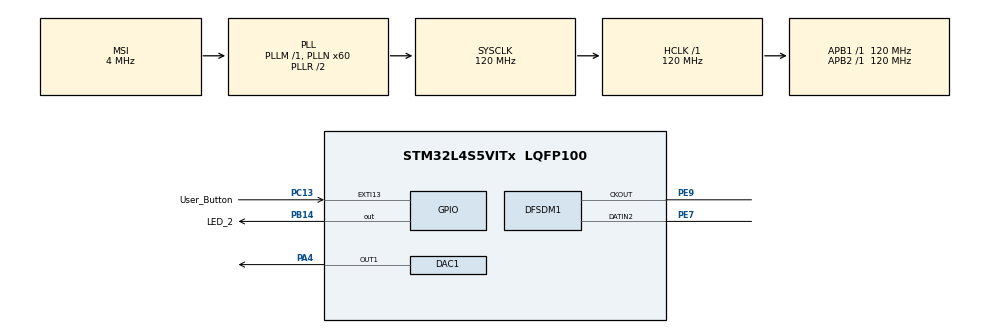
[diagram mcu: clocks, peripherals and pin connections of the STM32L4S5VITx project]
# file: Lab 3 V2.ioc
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DAC1.DAC_Trigger-DAC_OUT1=DAC_TRIGGER_SOFTWARE
DFSDM1.Divider=51
DFSDM1.DmaMode_reg_FIL0=ENABLE
DFSDM1.FastMode_reg_FIL0=ENABLE
DFSDM1.Filter_regChannel_FIL0=DFSDM_CHANNEL_2
DFSDM1.Fosr_FIL0=250
DFSDM1.SincOrder_FIL0=DFSDM_FILTER_SINC3_ORDER
Dma.DAC1_CH1.0.Direction=DMA_MEMORY_TO_PERIPH
Dma.DAC1_CH1.0.EventEnable=DISABLE
Dma.DAC1_CH1.0.Instance=DMA1_Channel1
Dma.DAC1_CH1.0.MemDataAlignment=DMA_MDATAALIGN_WORD
Dma.DAC1_CH1.0.MemInc=DMA_MINC_ENABLE
Dma.DAC1_CH1.0.Mode=DMA_NORMAL
Dma.DAC1_CH1.0.PeriphDataAlignment=DMA_PDATAALIGN_WORD
Dma.DAC1_CH1.0.PeriphInc=DMA_PINC_DISABLE
Dma.DAC1_CH1.0.Polarity=HAL_DMAMUX_REQUEST_GEN_RISING
Dma.DAC1_CH1.0.Priority=DMA_PRIORITY_LOW
Dma.DAC1_CH1.0.RequestNumber=1
Dma.DAC1_CH1.0.SignalID=NONE
Dma.DAC1_CH1.0.SyncEnable=DISABLE
Dma.DAC1_CH1.0.SyncPolarity=HAL_DMAMUX_SYNC_NO_EVENT
Dma.DAC1_CH1.0.SyncRequestNumber=1
Dma.DAC1_CH1.0.SyncSignalID=NONE
Dma.DFSDM1_FLT0.1.Direction=DMA_PERIPH_TO_MEMORY
Dma.DFSDM1_FLT0.1.EventEnable=DISABLE
Dma.DFSDM1_FLT0.1.Instance=DMA1_Channel2
Dma.DFSDM1_FLT0.1.MemDataAlignment=DMA_MDATAALIGN_WORD
Dma.DFSDM1_FLT0.1.MemInc=DMA_MINC_ENABLE
Dma.DFSDM1_FLT0.1.Mode=DMA_NORMAL
Dma.DFSDM1_FLT0.1.PeriphDataAlignment=DMA_PDATAALIGN_WORD
Dma.DFSDM1_FLT0.1.PeriphInc=DMA_PINC_DISABLE
Dma.DFSDM1_FLT0.1.Polarity=HAL_DMAMUX_REQUEST_GEN_RISING
Dma.DFSDM1_FLT0.1.Priority=DMA_PRIORITY_LOW
Dma.DFSDM1_FLT0.1.RequestNumber=1
Dma.DFSDM1_FLT0.1.SignalID=NONE
Dma.DFSDM1_FLT0.1.SyncEnable=DISABLE
Dma.DFSDM1_FLT0.1.SyncPolarity=HAL_DMAMUX_SYNC_NO_EVENT
Dma.DFSDM1_FLT0.1.SyncRequestNumber=1
Dma.DFSDM1_FLT0.1.SyncSignalID=NONE
Dma.Request0=DAC1_CH1
Dma.Request1=DFSDM1_FLT0
Mcu.Family=STM32L4
Mcu.Name=STM32L4S5VITx
Mcu.Package=LQFP100
NVIC.DMA1_Channel1_IRQn=true\:0\:0\:false\:false\:true\:false\:true\:true
NVIC.DMA1_Channel2_IRQn=true\:0\:0\:false\:false\:true\:false\:true\:true
NVIC.EXTI15_10_IRQn=true\:0\:0\:false\:false\:true\:true\:true\:true
NVIC.PriorityGroup=NVIC_PRIORITYGROUP_4
NVIC.TIM2_IRQn=true\:0\:0\:false\:false\:true\:true\:true\:true
PA4.Signal=COMP_DAC11_group
PB14.GPIO_Label=LED_2
PB14.Signal=GPIO_Output
PC13.GPIO_Label=User_Button
PC13.Signal=GPXTI13
PE7.Signal=S_DATAIN2DFSDM1
PE9.Signal=S_CKOUTDFSDM1
ProjectManager.HeapSize=0x200
ProjectManager.StackSize=0x400
ProjectManager.TargetToolchain=STM32CubeIDE
RCC.AHBFreq_Value=120000000
RCC.APB1Freq_Value=120000000
RCC.APB1TimFreq_Value=120000000
RCC.APB2Freq_Value=120000000
RCC.APB2TimFreq_Value=120000000
RCC.CortexFreq_Value=120000000
RCC.HCLKFreq_Value=120000000
RCC.HSE_VALUE=8000000
RCC.HSI48_VALUE=48000000
RCC.HSI_VALUE=16000000
RCC.LSE_VALUE=32768
RCC.MSI_VALUE=4000000
RCC.PLLN=60
RCC.SYSCLKFreq_VALUE=120000000
RCC.SYSCLKSource=RCC_SYSCLKSOURCE_PLLCLK
RCC.VCOOutputFreq_Value=240000000
SH.COMP_DAC11_group.0=DAC1_OUT1,DAC_OUT1
SH.S_CKOUTDFSDM1.0=DFSDM1_CKOUT,CKOUT
SH.S_CKOUTDFSDM1.1=DFSDM1_CKOUT,PDM_SPI_input_from_ch2_and_internal_clock
SH.S_DATAIN2DFSDM1.0=DFSDM1_DATIN2,PDM_SPI_input_from_ch2_and_internal_clock
TIM2.Period=12751
TIM2.TIM_MasterOutputTrigger=TIM_TRGO_RESET
VP_TIM2_VS_ClockSourceINT.Mode=Internal
board=custom

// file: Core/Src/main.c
/* USER CODE BEGIN Header */
/**
  ******************************************************************************
  * @file           : main.c
  * @brief          : Main program body
  ******************************************************************************
  * @attention
  *
  * Copyright (c) 2023 STMicroelectronics.
  * All rights reserved.
  *
  * This software is licensed under terms that can be found in the LICENSE file
  * in the root directory of this software component.
  * If no LICENSE file comes with this software, it is provided AS-IS.
  *
  ******************************************************************************
  */
/* USER CODE END Header */
#include "main.h"

/* USER CODE BEGIN Includes */

#define ARM_MATH_CM4
#include "arm_math.h"

/* USER CODE END Includes */

/* USER CODE BEGIN PD */

#define LENGTH 64000

/* USER CODE END PD */

DAC_HandleTypeDef hdac1;
DMA_HandleTypeDef hdma_dac1_ch1;

DFSDM_Filter_HandleTypeDef hdfsdm1_filter0;
DFSDM_Channel_HandleTypeDef hdfsdm1_channel2;
DMA_HandleTypeDef hdma_dfsdm1_flt0;

TIM_HandleTypeDef htim2;

/* USER CODE BEGIN PV */
int32_t timer, counter = 0;

int buttonPressed, PlaybackMode, doneRecording = 0;
int DMAComplete = 1;

int32_t tempData = 0;

int32_t signal[LENGTH];
uint32_t proccessedSignal[LENGTH];

float x = 0;

uint8_t sin_samples[44];
uint8_t sin_samples_2[33];
uint8_t sin_samples_3[22];

/* USER CODE END PV */

void SystemClock_Config(void);
static void MX_GPIO_Init(void);
static void MX_DMA_Init(void);
static void MX_DFSDM1_Init(void);
static void MX_DAC1_Init(void);
static void MX_TIM2_Init(void);

/* USER CODE BEGIN 0 */

//Function to calculate sin values
void getSineValues(){

	// 44 samples at 44kHz -> ~1kHz
	for(uint8_t i = 0; i < 44; i++)
	{
		// scale signal to 80% of possible range (max is 215 ~ 83%)
		sin_samples[i] = (uint8_t)((arm_sin_f32(x) * 87) + 128);
		x+= 6.28319 / 44;

	}

  	//33 samples at 44kHz -> ~1.33kHz
	x = 0;
	for(uint8_t i = 0; i < 33; i++)
	{
		// scale signal to 80% of possible range (max is 215 ~ 83%)
		sin_samples_2[i] = (uint32_t)((arm_sin_f32(x) * 87) + 128);
		x+= 6.28319 / 33;

	}

  	//22 samples at 44kHz -> ~2kHz
	x = 0;
	for(uint8_t i = 0; i < 22; i++)
	{
		// scale signal to 80% of possible range (max is 215 ~ 83%)
		sin_samples_3[i] = (uint32_t)((arm_sin_f32(x) * 87) + 128);
		x+= 6.28319 / 22;
	}

}

//Function to activate the microphone and start sampling
void recordMode(){

	//Set the LED to on
	HAL_GPIO_WritePin(LED_2_GPIO_Port, LED_2_Pin, GPIO_PIN_SET);

	PlaybackMode = 0;
	doneRecording = 0;

	HAL_DAC_Stop_DMA(&hdac1, DAC_CHANNEL_1);
	HAL_DFSDM_FilterRegularStart_DMA(&hdfsdm1_filter0, signal, LENGTH);

}

//Function to cycle through the sines and the recorded sound
void playbackMode(){

	//Check if 2 seconds elapsed
	if(counter == 0 || counter == 1){

		HAL_DAC_Stop_DMA(&hdac1, DAC_CHANNEL_1);

		HAL_DAC_Start_DMA(&hdac1, DAC_CHANNEL_1, &proccessedSignal, LENGTH, DAC_ALIGN_12B_R);

		//Set the LED to on
		HAL_GPIO_WritePin(LED_2_GPIO_Port, LED_2_Pin, GPIO_PIN_SET);

		HAL_Delay(2000);

	}

	else if(counter == 2 || counter == 3){

		HAL_DAC_Stop_DMA(&hdac1, DAC_CHANNEL_1);

		HAL_DAC_Start_DMA(&hdac1, DAC_CHANNEL_1, &sin_samples, 44, DAC_ALIGN_8B_R);

		//Set the LED to off
		HAL_GPIO_WritePin(LED_2_GPIO_Port, LED_2_Pin, GPIO_PIN_RESET);

		HAL_Delay(1000);

	}

	else if(counter == 4 || counter == 5){

		HAL_DAC_Stop_DMA(&hdac1, DAC_CHANNEL_1);

		HAL_DAC_Start_DMA(&hdac1, DAC_CHANNEL_1, &sin_samples_2, 33, DAC_ALIGN_8B_R);

		//Set the LED to on
		HAL_GPIO_WritePin(LED_2_GPIO_Port, LED_2_Pin, GPIO_PIN_SET);

		HAL_Delay(1000);

	}

	else if(counter == 6 || counter == 7){

		HAL_DAC_Stop_DMA(&hdac1, DAC_CHANNEL_1);

		HAL_DAC_Start_DMA(&hdac1, DAC_CHANNEL_1, &sin_samples_3, 22, DAC_ALIGN_8B_R);

		//Set the LED to off
		HAL_GPIO_WritePin(LED_2_GPIO_Port, LED_2_Pin, GPIO_PIN_RESET);

		HAL_Delay(1000);

	}
}

// callback for button
void HAL_GPIO_EXTI_Callback (uint16_t GPIO_Pin)
{

	if(GPIO_Pin == User_Button_Pin){

		//Change states
		buttonPressed =! buttonPressed;

		//Activate Recording state:
		if(buttonPressed){

			recordMode();

		}

		//Playback
		else{

			//Check if we still are recording
			if(doneRecording == 1){

				//Enable the playback mode
				PlaybackMode = 1;

				//Set the LED to off
				HAL_GPIO_WritePin(LED_2_GPIO_Port, LED_2_Pin, GPIO_PIN_RESET);

			}
		}
	}

}

// callback for mic
void HAL_DFSDM_FilterRegConvCpltCallback (DFSDM_Filter_HandleTypeDef * hdfsdm_filter)
{
	// check to make sure correct callback
	if(hdfsdm_filter == &hdfsdm1_filter0){

		//Stop the DMA
		HAL_DFSDM_FilterRegularStop_DMA(hdfsdm_filter);

		// scale the 32 bits to 12 bits
		for(int i = 0; i < LENGTH; i++){

			tempData = signal[i];

			tempData = tempData>>8;

			tempData+= 8388608;

			//best is 256
			tempData = tempData/2048;

			proccessedSignal[i] = (uint32_t) (tempData);

		}

		doneRecording = 1;

		//Set the LED to off
		HAL_GPIO_WritePin(LED_2_GPIO_Port, LED_2_Pin, GPIO_PIN_RESET);

		//HAL_DAC_Start_DMA(&hdac1, DAC_CHANNEL_1, &proccessedSignal, LENGTH, DAC_ALIGN_12B_R);

	}
}

//callback for timer
void HAL_TIM_PeriodElapsedCallback(TIM_HandleTypeDef *htim)
{
	// check to ensure timer correct source
	if(htim->Instance == TIM2)
	{

		//1 second elapsed
		if(++timer >= 44395){
			timer = 0;
			counter++;
		}

		//Increment seconds counter
		if(counter == 8){
			counter = 0;
		}

	}
}

/* USER CODE END 0 */

int main(void)
{

  /* MCU Configuration--------------------------------------------------------*/

  /* Reset of all peripherals, Initializes the Flash interface and the Systick. */
  HAL_Init();

  /* Configure the system clock */
  SystemClock_Config();

  /* Initialize all configured peripherals */
  MX_GPIO_Init();
  MX_DMA_Init();
  MX_DFSDM1_Init();
  MX_DAC1_Init();
  MX_TIM2_Init();
  /* USER CODE BEGIN 2 */

  // starts timer in interrupt mode
  HAL_TIM_Base_Start_IT(&htim2);

  //Calculate the sin values
  getSineValues();

  /* USER CODE END 2 */

  /* Infinite loop */
  while (1)
  {

    /* USER CODE BEGIN 3 */

	  if(PlaybackMode){
		  playbackMode();
	  }

  }
  /* USER CODE END 3 */
}

void SystemClock_Config(void)
{
  RCC_OscInitTypeDef RCC_OscInitStruct = {0};
  RCC_ClkInitTypeDef RCC_ClkInitStruct = {0};

  /** Configure the main internal regulator output voltage
  */
  if (HAL_PWREx_ControlVoltageScaling(PWR_REGULATOR_VOLTAGE_SCALE1_BOOST) != HAL_OK)
  {
    Error_Handler();
  }

  /** Initializes the RCC Oscillators according to the specified parameters
  * in the RCC_OscInitTypeDef structure.
  */
  RCC_OscInitStruct.OscillatorType = RCC_OSCILLATORTYPE_MSI;
  RCC_OscInitStruct.MSIState = RCC_MSI_ON;
  RCC_OscInitStruct.MSICalibrationValue = 0;
  RCC_OscInitStruct.MSIClockRange = RCC_MSIRANGE_6;
  RCC_OscInitStruct.PLL.PLLState = RCC_PLL_ON;
  RCC_OscInitStruct.PLL.PLLSource = RCC_PLLSOURCE_MSI;
  RCC_OscInitStruct.PLL.PLLM = 1;
  RCC_OscInitStruct.PLL.PLLN = 60;
  RCC_OscInitStruct.PLL.PLLP = RCC_PLLP_DIV2;
  RCC_OscInitStruct.PLL.PLLQ = RCC_PLLQ_DIV2;
  RCC_OscInitStruct.PLL.PLLR = RCC_PLLR_DIV2;
  if (HAL_RCC_OscConfig(&RCC_OscInitStruct) != HAL_OK)
  {
    Error_Handler();
  }

  /** Initializes the CPU, AHB and APB buses clocks
  */
  RCC_ClkInitStruct.ClockType = RCC_CLOCKTYPE_HCLK|RCC_CLOCKTYPE_SYSCLK
                              |RCC_CLOCKTYPE_PCLK1|RCC_CLOCKTYPE_PCLK2;
  RCC_ClkInitStruct.SYSCLKSource = RCC_SYSCLKSOURCE_PLLCLK;
  RCC_ClkInitStruct.AHBCLKDivider = RCC_SYSCLK_DIV1;
  RCC_ClkInitStruct.APB1CLKDivider = RCC_HCLK_DIV1;
  RCC_ClkInitStruct.APB2CLKDivider = RCC_HCLK_DIV1;

  if (HAL_RCC_ClockConfig(&RCC_ClkInitStruct, FLASH_LATENCY_5) != HAL_OK)
  {
    Error_Handler();
  }
}

static void MX_DAC1_Init(void)
{

  DAC_ChannelConfTypeDef sConfig = {0};

  /** DAC Initialization
  */
  hdac1.Instance = DAC1;
  if (HAL_DAC_Init(&hdac1) != HAL_OK)
  {
    Error_Handler();
  }

  /** DAC channel OUT1 config
  */
  sConfig.DAC_SampleAndHold = DAC_SAMPLEANDHOLD_DISABLE;
  sConfig.DAC_Trigger = DAC_TRIGGER_T2_TRGO;
  sConfig.DAC_HighFrequency = DAC_HIGH_FREQUENCY_INTERFACE_MODE_ABOVE_80MHZ;
  sConfig.DAC_OutputBuffer = DAC_OUTPUTBUFFER_ENABLE;
  sConfig.DAC_ConnectOnChipPeripheral = DAC_CHIPCONNECT_DISABLE;
  sConfig.DAC_UserTrimming = DAC_TRIMMING_FACTORY;
  if (HAL_DAC_ConfigChannel(&hdac1, &sConfig, DAC_CHANNEL_1) != HAL_OK)
  {
    Error_Handler();
  }

}

static void MX_DFSDM1_Init(void)
{

  hdfsdm1_filter0.Instance = DFSDM1_Filter0;
  hdfsdm1_filter0.Init.RegularParam.Trigger = DFSDM_FILTER_SW_TRIGGER;
  hdfsdm1_filter0.Init.RegularParam.FastMode = ENABLE;
  hdfsdm1_filter0.Init.RegularParam.DmaMode = ENABLE;
  hdfsdm1_filter0.Init.FilterParam.SincOrder = DFSDM_FILTER_SINC3_ORDER;
  hdfsdm1_filter0.Init.FilterParam.Oversampling = 53;
  hdfsdm1_filter0.Init.FilterParam.IntOversampling = 1;
  if (HAL_DFSDM_FilterInit(&hdfsdm1_filter0) != HAL_OK)
  {
    Error_Handler();
  }
  hdfsdm1_channel2.Instance = DFSDM1_Channel2;
  hdfsdm1_channel2.Init.OutputClock.Activation = ENABLE;
  hdfsdm1_channel2.Init.OutputClock.Selection = DFSDM_CHANNEL_OUTPUT_CLOCK_SYSTEM;
  hdfsdm1_channel2.Init.OutputClock.Divider = 51;
  hdfsdm1_channel2.Init.Input.Multiplexer = DFSDM_CHANNEL_EXTERNAL_INPUTS;
  hdfsdm1_channel2.Init.Input.DataPacking = DFSDM_CHANNEL_STANDARD_MODE;
  hdfsdm1_channel2.Init.Input.Pins = DFSDM_CHANNEL_SAME_CHANNEL_PINS;
  hdfsdm1_channel2.Init.SerialInterface.Type = DFSDM_CHANNEL_SPI_RISING;
  hdfsdm1_channel2.Init.SerialInterface.SpiClock = DFSDM_CHANNEL_SPI_CLOCK_INTERNAL;
  hdfsdm1_channel2.Init.Awd.FilterOrder = DFSDM_CHANNEL_FASTSINC_ORDER;
  hdfsdm1_channel2.Init.Awd.Oversampling = 1;
  hdfsdm1_channel2.Init.Offset = 0;
  hdfsdm1_channel2.Init.RightBitShift = 0x00;
  if (HAL_DFSDM_ChannelInit(&hdfsdm1_channel2) != HAL_OK)
  {
    Error_Handler();
  }
  if (HAL_DFSDM_FilterConfigRegChannel(&hdfsdm1_filter0, DFSDM_CHANNEL_2, DFSDM_CONTINUOUS_CONV_ON) != HAL_OK)
  {
    Error_Handler();
  }

}

static void MX_TIM2_Init(void)
{

  TIM_ClockConfigTypeDef sClockSourceConfig = {0};
  TIM_MasterConfigTypeDef sMasterConfig = {0};

  htim2.Instance = TIM2;
  htim2.Init.Prescaler = 0;
  htim2.Init.CounterMode = TIM_COUNTERMODE_UP;
  htim2.Init.Period = 2703;
  htim2.Init.ClockDivision = TIM_CLOCKDIVISION_DIV1;
  htim2.Init.AutoReloadPreload = TIM_AUTORELOAD_PRELOAD_DISABLE;
  if (HAL_TIM_Base_Init(&htim2) != HAL_OK)
  {
    Error_Handler();
  }
  sClockSourceConfig.ClockSource = TIM_CLOCKSOURCE_INTERNAL;
  if (HAL_TIM_ConfigClockSource(&htim2, &sClockSourceConfig) != HAL_OK)
  {
    Error_Handler();
  }
  sMasterConfig.MasterOutputTrigger = TIM_TRGO_UPDATE;
  sMasterConfig.MasterSlaveMode = TIM_MASTERSLAVEMODE_DISABLE;
  if (HAL_TIMEx_MasterConfigSynchronization(&htim2, &sMasterConfig) != HAL_OK)
  {
    Error_Handler();
  }

}

static void MX_DMA_Init(void)
{

  /* DMA controller clock enable */
  __HAL_RCC_DMAMUX1_CLK_ENABLE();
  __HAL_RCC_DMA1_CLK_ENABLE();

  /* DMA interrupt init */
  /* DMA1_Channel1_IRQn interrupt configuration */
  HAL_NVIC_SetPriority(DMA1_Channel1_IRQn, 0, 0);
  HAL_NVIC_EnableIRQ(DMA1_Channel1_IRQn);
  /* DMA1_Channel2_IRQn interrupt configuration */
  HAL_NVIC_SetPriority(DMA1_Channel2_IRQn, 0, 0);
  HAL_NVIC_EnableIRQ(DMA1_Channel2_IRQn);

}

static void MX_GPIO_Init(void)
{
  GPIO_InitTypeDef GPIO_InitStruct = {0};

  /* GPIO Ports Clock Enable */
  __HAL_RCC_GPIOC_CLK_ENABLE();
  __HAL_RCC_GPIOA_CLK_ENABLE();
  __HAL_RCC_GPIOE_CLK_ENABLE();
  __HAL_RCC_GPIOB_CLK_ENABLE();

  /*Configure GPIO pin Output Level */
  HAL_GPIO_WritePin(LED_2_GPIO_Port, LED_2_Pin, GPIO_PIN_RESET);

  /*Configure GPIO pin : User_Button_Pin */
  GPIO_InitStruct.Pin = User_Button_Pin;
  GPIO_InitStruct.Mode = GPIO_MODE_IT_RISING;
  GPIO_InitStruct.Pull = GPIO_NOPULL;
  HAL_GPIO_Init(User_Button_GPIO_Port, &GPIO_InitStruct);

  /*Configure GPIO pin : LED_2_Pin */
  GPIO_InitStruct.Pin = LED_2_Pin;
  GPIO_InitStruct.Mode = GPIO_MODE_OUTPUT_PP;
  GPIO_InitStruct.Pull = GPIO_NOPULL;
  GPIO_InitStruct.Speed = GPIO_SPEED_FREQ_LOW;
  HAL_GPIO_Init(LED_2_GPIO_Port, &GPIO_InitStruct);

  /* EXTI interrupt init*/
  HAL_NVIC_SetPriority(EXTI15_10_IRQn, 0, 0);
  HAL_NVIC_EnableIRQ(EXTI15_10_IRQn);

}

void Error_Handler(void)
{
  __disable_irq();
  while (1)
  {
  }
}
